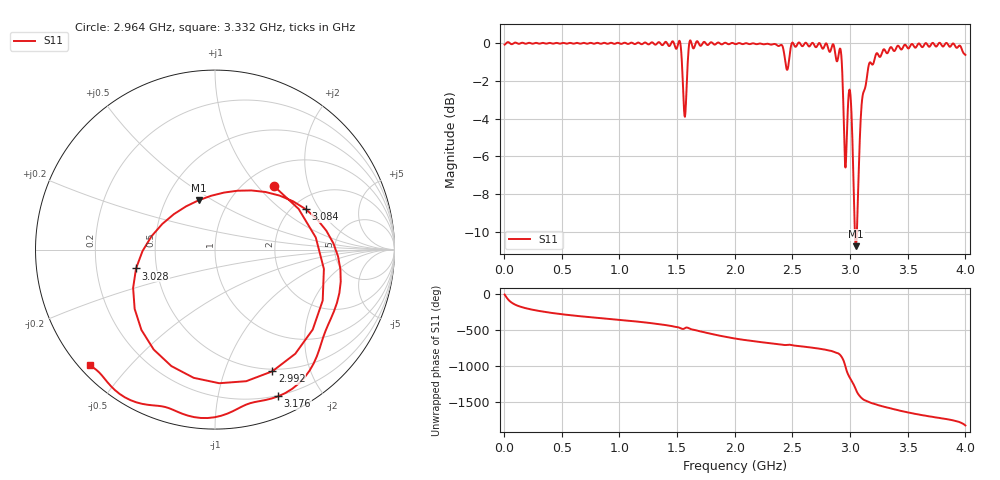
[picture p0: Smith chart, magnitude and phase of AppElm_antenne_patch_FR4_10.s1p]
! TOUCHSTONE file generated by CST MICROWAVE STUDIO
! Date and time: Tue Jun  7 20:32:35 2022
! Project name: AppElm_antenne_patch_FR4.cst
! Parameters = {L=45; W=58.5; e=0.035; h=1.6; lambda=0.190476; ls=120; w0=1.6; w1=0.533333; ws=120; y0=24; y1=23.8095}
! Header version: 2018
! Port assignment regex: !\s*Touchstone port\s*([0-9]+)\s*=\s*(CST MWS port|CST DS port)\s*([0-9]+|Zmin|Zmax)\s*\(\"(.*)\"\)(\s*mode\s*([0-9]+))?.*
! Touchstone port assignment:
! Touchstone port 1 = CST MWS port 1 ("")
# GHz S MA R 50
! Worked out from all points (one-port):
!   1000 points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, 4 MHz to 4 GHz, reference 50 ohm
!   lowest |S11| = -10.8 dB at 3.052 GHz (marker M1), VSWR 1.81, Z = 36.1 + j21.7 ohm
!   |S11| at or under -10 dB: 3.042 GHz to 3.059 GHz (17.24 MHz wide, 0.565 % of centre)
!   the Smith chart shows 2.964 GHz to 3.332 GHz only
!   S11 on the Smith chart (normalised r, x): 2.964 GHz: 1.32, +1.23; 2.992 GHz: 0.47, -1.47; 3.028 GHz: 0.38, -0.10; 3.084 GHz: 2.35, +1.53; 3.176 GHz: 0.19, -1.50; 3.332 GHz: 0.03, -0.39
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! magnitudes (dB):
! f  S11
! 4 MHz  -0.1
! 504 MHz  0.0
! 1.004 GHz  0.0
! 1.504 GHz  -0.2
! 1.528 GHz  0.0
! 1.568 GHz  -3.9
! 1.604 GHz  -0.1
! 1.62 GHz  0.1
! 2.004 GHz  0.0
! 2.396 GHz  -0.1
! 2.452 GHz  -1.4
! 2.504 GHz  0.0
! 2.908 GHz  -0.3
! 2.924 GHz  -0.6
! 2.948 GHz  -4.8
! 2.964 GHz  -6.3
! 2.992 GHz  -2.5
! 3.004 GHz  -2.8
! 3.028 GHz  -6.9
! 3.04 GHz  -9.7
! 3.052 GHz  -10.8
! 3.064 GHz  -9.1
! 3.084 GHz  -5.1
! 3.112 GHz  -2.7
! 3.176 GHz  -1.0
! 3.332 GHz  -0.4
! 3.504 GHz  -0.3
! 4 GHz  -0.6
